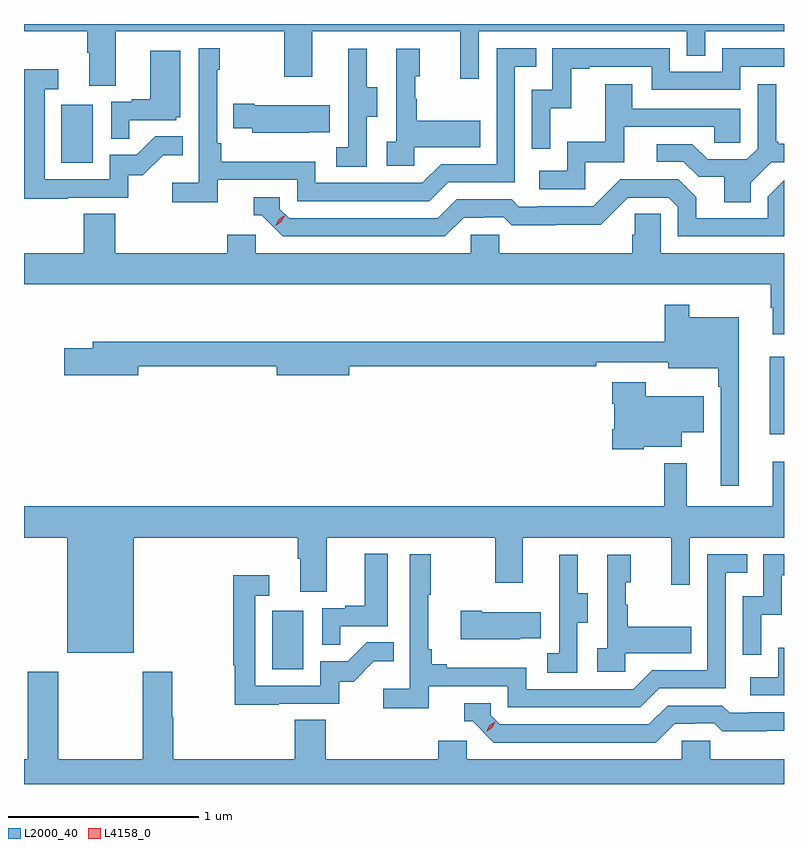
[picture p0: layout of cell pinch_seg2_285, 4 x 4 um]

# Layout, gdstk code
import gdstk
lib = gdstk.Library(unit=1e-6, precision=1e-09)
def R(c, l, rs):  # rectangles x0, y0, x1, y1
    for r in rs: c.add(gdstk.rectangle(r[:2], r[2:], *l))
def P(c, l, *ps):  # polygons
    for p in ps: c.add(gdstk.Polygon(p, *l))
L2000_40 = (2000, 40)
L4158_0 = (4158, 0)

pinch_seg2_285 = lib.new_cell('pinch_seg2_285')
R(pinch_seg2_285, L2000_40, [(923.45,640.284,923.614,640.591), (926.069,641.519,926.143,641.929), (922.34,642.948,922.504,643.255)])
P(pinch_seg2_285, L2000_40, [(922.627,643.64),(923.512,643.64),(923.512,643.401),(923.659,643.401),(923.659,643.64),(924.44,643.64),(924.44,643.392),(924.537,643.392),(924.537,643.64),(925.632,643.64),(925.632,643.513),(925.728,643.513),(925.728,643.64),(926.143,643.64),(926.143,643.679),(922.143,643.679),(922.143,643.64),(922.475,643.64),(922.475,643.528),(922.487,643.528),(922.487,643.354),(922.627,643.354)],
  [(923.162,642.858),(923.58,642.858),(923.58,642.747),(924.277,642.747),(924.376,642.846),(924.726,642.846),(924.726,643.455),(924.839,643.455),(924.839,643.551),(924.63,643.551),(924.63,642.942),(924.339,642.942),(924.24,642.843),(923.676,642.843),(923.676,642.955),(923.18,642.955),(923.18,643.051),(923.16,643.051),(923.16,643.439),(923.173,643.439),(923.173,643.552),(923.064,643.552),(923.064,642.844),(922.923,642.844),(922.923,642.742),(923.162,642.742)],
  [(924.912,643.235),(925.022,643.235),(925.022,643.443),(925.117,643.443),(925.117,643.455),(925.446,643.455),(925.446,643.332),(925.914,643.332),(925.914,643.455),(926.143,643.455),(926.143,643.551),(925.818,643.551),(925.818,643.428),(925.542,643.428),(925.542,643.551),(924.924,643.551),(924.924,643.332),(924.816,643.332),(924.816,643.023),(924.912,643.023)],
  [(923.946,643.192),(924.001,643.192),(924.001,643.347),(923.947,643.347),(923.947,643.549),(923.849,643.549),(923.849,643.335),(923.85,643.335),(923.85,643.031),(923.787,643.031),(923.787,642.928),(923.946,642.928)],
  [(924.198,643.031),(924.545,643.031),(924.545,643.171),(924.211,643.171),(924.211,643.286),(924.201,643.286),(924.201,643.404),(924.226,643.404),(924.226,643.549),(924.102,643.549),(924.102,643.058),(924.051,643.058),(924.051,642.933),(924.198,642.933)],
  [(922.697,643.173),(922.944,643.173),(922.944,643.188),(922.966,643.188),(922.966,643.537),(922.808,643.537),(922.808,643.282),(922.709,643.282),(922.709,643.269),(922.602,643.269),(922.602,643.075),(922.697,643.075)],
  [(922.373,642.765),(922.692,642.765),(922.692,642.882),(922.768,642.882),(922.875,642.989),(922.979,642.989),(922.979,643.088),(922.835,643.088),(922.737,642.99),(922.593,642.99),(922.593,642.861),(922.251,642.861),(922.251,643.335),(922.324,643.335),(922.324,643.441),(922.143,643.441),(922.143,642.76),(922.373,642.76)],
  [(925.098,642.951),(925.303,642.951),(925.303,643.137),(925.777,643.137),(925.777,643.053),(925.914,643.053),(925.914,643.233),(925.345,643.233),(925.345,643.363),(925.201,643.363),(925.201,643.06),(925.002,643.06),(925.002,642.906),(924.855,642.906),(924.855,642.81),(925.098,642.81)],
  [(925.969,642.844),(926.076,642.951),(926.143,642.951),(926.143,643.048),(926.113,643.048),(926.113,643.06),(926.101,643.06),(926.101,643.363),(926.004,643.363),(926.004,643.023),(925.947,642.966),(925.741,642.966),(925.66,643.047),(925.473,643.047),(925.473,642.954),(925.614,642.954),(925.694,642.874),(925.829,642.874),(925.829,642.742),(925.969,642.742)],
  [(923.645,643.109),(923.753,643.109),(923.753,643.252),(923.356,643.252),(923.356,643.26),(923.245,643.26),(923.245,643.13),(923.343,643.13),(923.343,643.106),(923.645,643.106)],
  [(924.457,642.66),(924.564,642.66),(924.564,642.663),(924.667,642.663),(924.709,642.621),(924.942,642.621),(924.942,642.623),(925.178,642.623),(925.32,642.765),(925.536,642.765),(925.584,642.717),(925.584,642.561),(926.143,642.561),(926.143,642.856),(926.058,642.771),(926.058,642.657),(925.681,642.657),(925.681,642.767),(925.587,642.861),(925.281,642.861),(925.14,642.72),(924.847,642.72),(924.847,642.717),(924.748,642.717),(924.709,642.756),(924.42,642.756),(924.321,642.657),(923.538,642.657),(923.49,642.705),(923.49,642.768),(923.351,642.768),(923.351,642.672),(923.394,642.672),(923.505,642.561),(924.358,642.561)],
  [(926.143,642.472),(925.494,642.472),(925.494,642.68),(925.357,642.68),(925.357,642.57),(925.343,642.57),(925.343,642.472),(924.645,642.472),(924.645,642.57),(924.495,642.57),(924.495,642.472),(923.364,642.472),(923.364,642.57),(923.213,642.57),(923.213,642.472),(922.622,642.472),(922.622,642.68),(922.457,642.68),(922.457,642.472),(922.143,642.472),(922.143,642.308),(926.073,642.308),(926.073,642.185),(926.084,642.185),(926.084,642.045),(926.143,642.045)],
  [(925.906,642.136),(925.645,642.136),(925.645,642.202),(925.516,642.202),(925.516,642.007),(922.505,642.007),(922.505,641.973),(922.356,641.973),(922.356,641.831),(922.744,641.831),(922.744,641.878),(923.474,641.878),(923.474,641.831),(923.854,641.831),(923.854,641.878),(925.154,641.878),(925.154,641.898),(925.535,641.898),(925.535,641.867),(925.797,641.867),(925.797,641.771),(925.809,641.771),(925.809,641.25),(925.906,641.25)],
  [(925.404,641.453),(925.606,641.453),(925.606,641.531),(925.72,641.531),(925.72,641.719),(925.416,641.719),(925.416,641.794),(925.238,641.794),(925.238,641.681),(925.25,641.681),(925.25,641.545),(925.238,641.545),(925.238,641.441),(925.404,641.441)],
  [(922.72,640.976),(923.585,640.976),(923.585,640.864),(923.597,640.864),(923.597,640.69),(923.737,640.69),(923.737,640.976),(924.622,640.976),(924.622,640.737),(924.769,640.737),(924.769,640.976),(925.55,640.976),(925.55,640.728),(925.647,640.728),(925.647,640.976),(926.143,640.976),(926.143,641.374),(926.084,641.374),(926.084,641.14),(925.631,641.14),(925.631,641.368),(925.513,641.368),(925.513,641.14),(922.143,641.14),(922.143,640.976),(922.37,640.976),(922.37,640.37),(922.72,640.37)],
  [(923.807,640.509),(924.058,640.509),(924.058,640.891),(923.936,640.891),(923.936,640.618),(923.833,640.618),(923.833,640.605),(923.712,640.605),(923.712,640.411),(923.807,640.411)],
  [(924.272,640.194),(924.69,640.194),(924.69,640.083),(925.387,640.083),(925.486,640.182),(925.836,640.182),(925.836,640.791),(925.949,640.791),(925.949,640.887),(925.74,640.887),(925.74,640.278),(925.449,640.278),(925.35,640.179),(924.786,640.179),(924.786,640.291),(924.367,640.291),(924.367,640.31),(924.29,640.31),(924.29,640.387),(924.271,640.387),(924.271,640.675),(924.283,640.675),(924.283,640.888),(924.174,640.888),(924.174,640.18),(924.033,640.18),(924.033,640.078),(924.272,640.078)],
  [(926.022,640.571),(926.132,640.571),(926.132,640.779),(926.143,640.779),(926.143,640.887),(926.034,640.887),(926.034,640.668),(925.926,640.668),(925.926,640.359),(926.022,640.359)],
  [(925.308,640.367),(925.655,640.367),(925.655,640.507),(925.321,640.507),(925.321,640.622),(925.311,640.622),(925.311,640.74),(925.336,640.74),(925.336,640.885),(925.212,640.885),(925.212,640.394),(925.161,640.394),(925.161,640.269),(925.308,640.269)],
  [(925.056,640.528),(925.111,640.528),(925.111,640.683),(925.057,640.683),(925.057,640.885),(924.959,640.885),(924.959,640.671),(924.96,640.671),(924.96,640.367),(924.897,640.367),(924.897,640.264),(925.056,640.264)],
  [(923.483,640.101),(923.802,640.101),(923.802,640.218),(923.878,640.218),(923.985,640.325),(924.089,640.325),(924.089,640.424),(923.946,640.424),(923.848,640.326),(923.703,640.326),(923.703,640.197),(923.361,640.197),(923.361,640.671),(923.434,640.671),(923.434,640.777),(923.245,640.777),(923.245,640.304),(923.253,640.304),(923.253,640.096),(923.483,640.096)],
  [(924.755,640.445),(924.863,640.445),(924.863,640.582),(924.553,640.582),(924.553,640.59),(924.441,640.59),(924.441,640.442),(924.755,640.442)],
  [(926.143,640.396),(926.112,640.396),(926.112,640.242),(925.965,640.242),(925.965,640.146),(926.143,640.146)],
  [(926.143,639.808),(925.755,639.808),(925.755,639.906),(925.605,639.906),(925.605,639.808),(924.474,639.808),(924.474,639.906),(924.323,639.906),(924.323,639.808),(923.732,639.808),(923.732,640.016),(923.567,640.016),(923.567,639.808),(922.928,639.808),(922.928,640.031),(922.923,640.031),(922.923,640.27),(922.768,640.27),(922.768,639.808),(922.323,639.808),(922.323,640.27),(922.163,640.27),(922.163,639.808),(922.143,639.808),(922.143,639.679),(926.143,639.679)],
  [(925.567,639.996),(925.674,639.996),(925.674,639.999),(925.777,639.999),(925.819,639.957),(926.052,639.957),(926.052,639.959),(926.143,639.959),(926.143,640.056),(925.957,640.056),(925.957,640.053),(925.858,640.053),(925.819,640.092),(925.53,640.092),(925.431,639.993),(924.648,639.993),(924.6,640.041),(924.6,640.104),(924.461,640.104),(924.461,640.008),(924.504,640.008),(924.615,639.897),(925.468,639.897)])
P(pinch_seg2_285, L4158_0, [(924.577,639.955),(924.577,639.955),(924.593,639.988),(924.624,640.007),(924.624,640.007),(924.624,640.007),(924.608,639.974),(924.577,639.955)],
  [(923.467,642.618),(923.467,642.619),(923.483,642.651),(923.514,642.671),(923.515,642.671),(923.515,642.671),(923.498,642.638),(923.467,642.618)])

lib.write_gds('pinch_seg2_285.gds')
